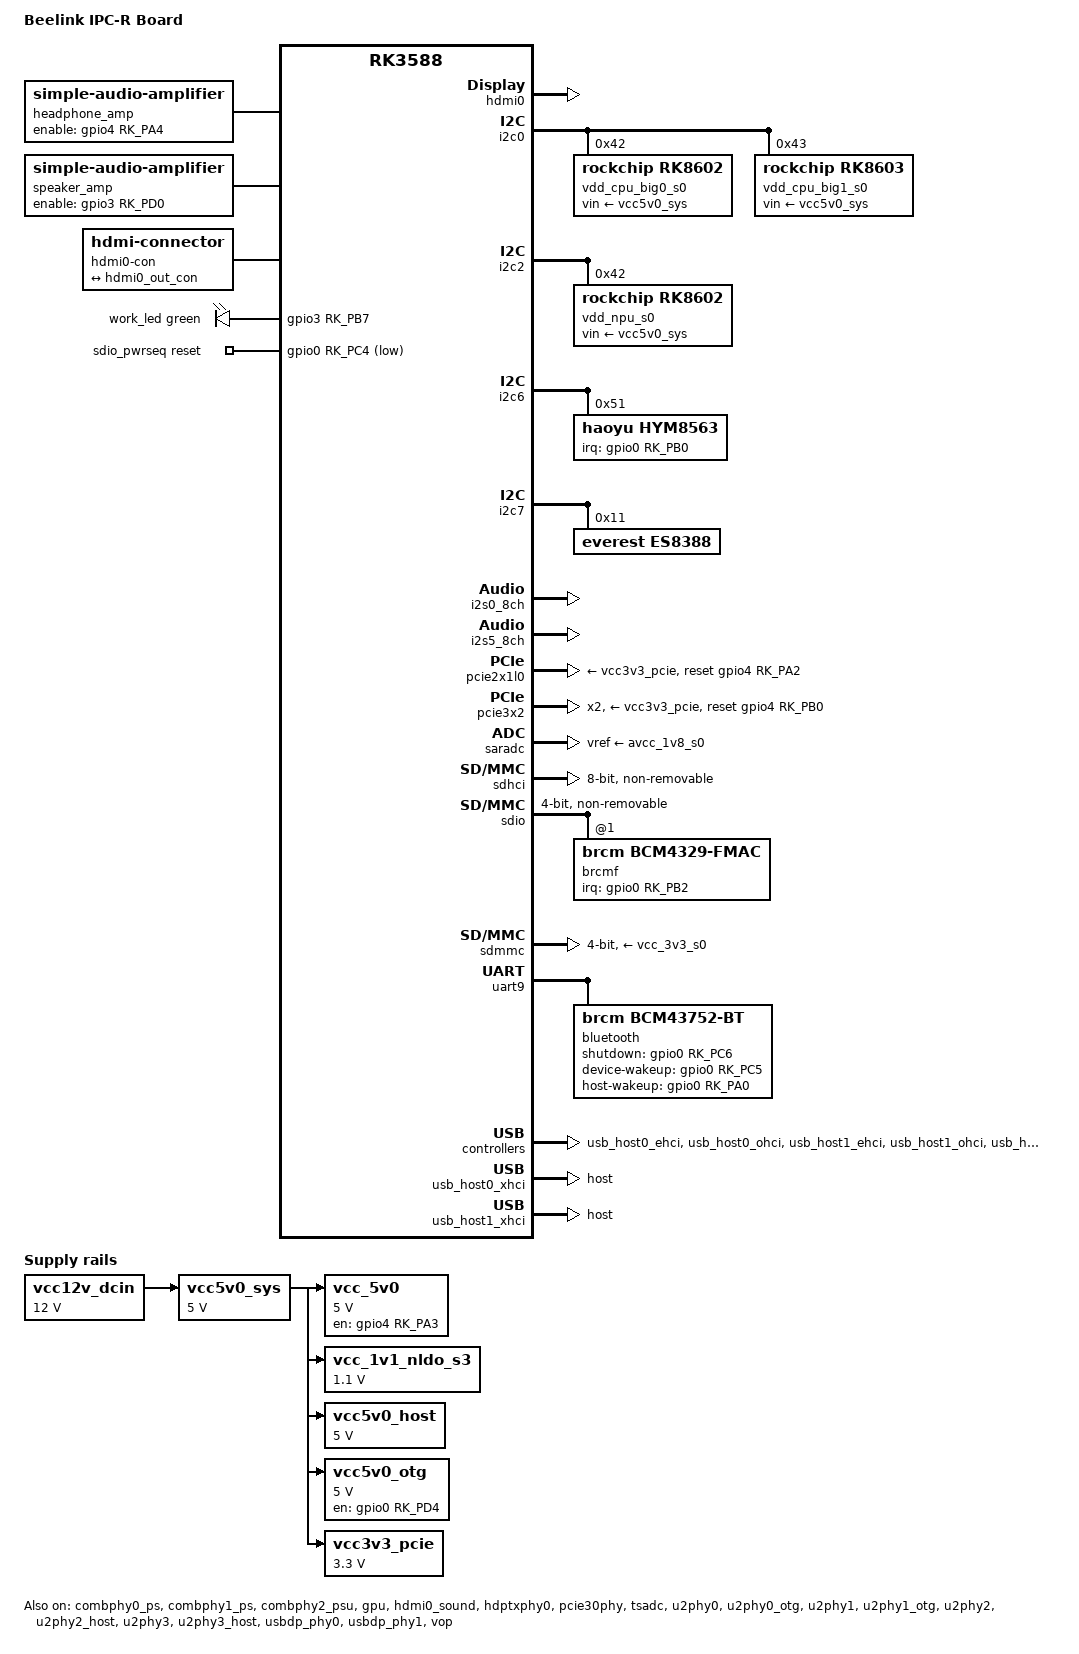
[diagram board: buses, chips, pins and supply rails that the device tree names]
// SPDX-License-Identifier: (GPL-2.0+ OR MIT)


/dts-v1/;

#include <dt-bindings/gpio/gpio.h>
#include <dt-bindings/input/input.h>
#include <dt-bindings/leds/common.h>
#include <dt-bindings/pinctrl/rockchip.h>
#include <dt-bindings/soc/rockchip,vop2.h>
#include "rk3588.dtsi"
#include "rk3588-rk806-single.dtsi"

/ {
	model = "Beelink IPC-R Board";
	compatible = "beelink,ipc-r", "rockchip,rk3588";

	aliases {
		mmc0 = &sdmmc;
		mmc1 = &sdhci;
		mmc2 = &sdio;
		rtc0 = &hym8563;
	};

	chosen: chosen {
		stdout-path = "serial2:1500000n8";
	};

	/* Headphone amplifier, enable pin = hp-con-gpios in the vendor BSP */
	headphone_amp: audio-amplifier-headphone {
		compatible = "simple-audio-amplifier";
		enable-gpios = <&gpio4 RK_PA4 GPIO_ACTIVE_HIGH>;
		sound-name-prefix = "Headphones Amp";
	};

	/* Speaker amplifier, enable pin = spk-con-gpios in the vendor BSP */
	speaker_amp: audio-amplifier-speaker {
		compatible = "simple-audio-amplifier";
		enable-gpios = <&gpio3 RK_PD0 GPIO_ACTIVE_HIGH>;
		sound-name-prefix = "Speaker Amp";
	};

	hdmi0-con {
		compatible = "hdmi-connector";
		type = "a";

		port {
			hdmi0_con_in: endpoint {
				remote-endpoint = <&hdmi0_out_con>;
			};
		};
	};

	gpio_leds: gpio-leds {
		compatible = "gpio-leds";

		work_led: led-work {
			function = LED_FUNCTION_INDICATOR;
			color = <LED_COLOR_ID_GREEN>;
			gpios = <&gpio3 RK_PB7 GPIO_ACTIVE_HIGH>;
			linux,default-trigger = "default-on";
		};
	};

	sdio_pwrseq: sdio-pwrseq {
		compatible = "mmc-pwrseq-simple";
		pinctrl-names = "default";
		pinctrl-0 = <&wifi_enable_h>;
		post-power-on-delay-ms = <200>;
		reset-gpios = <&gpio0 RK_PC4 GPIO_ACTIVE_LOW>;
	};

	/*
	 * ES8388 audio codec (register compatible with ES8328), analog
	 * headphone + speaker + microphone over i2s0. The vendor BSP uses
	 * the private "rockchip,multicodecs-card" machine driver; mainline
	 * uses simple-audio-card with the two amplifier GPIOs modelled as
	 * simple-audio-amplifier auxiliary devices.
	 */
	sound {
		compatible = "simple-audio-card";
		simple-audio-card,name = "rockchip-es8388";
		simple-audio-card,aux-devs = <&speaker_amp>, <&headphone_amp>;
		simple-audio-card,format = "i2s";
		simple-audio-card,mclk-fs = <256>;
		simple-audio-card,bitclock-master = <&daicpu>;
		simple-audio-card,frame-master = <&daicpu>;
		simple-audio-card,pin-switches = "Headphones";

		simple-audio-card,widgets =
			"Microphone", "Microphone Jack",
			"Speaker", "Speaker",
			"Headphone", "Headphones";

		simple-audio-card,routing =
			"Headphones", "LOUT2",
			"Headphones", "ROUT2",
			"Speaker", "LOUT2",
			"Speaker", "ROUT2",
			"Headphones", "Headphones Amp OUTL",
			"Headphones", "Headphones Amp OUTR",
			"Headphones Amp INL", "LOUT2",
			"Headphones Amp INR", "ROUT2",
			"Speaker", "Speaker Amp OUTL",
			"Speaker", "Speaker Amp OUTR",
			"Speaker Amp INL", "LOUT2",
			"Speaker Amp INR", "ROUT2",
			"LINPUT1", "Microphone Jack",
			"RINPUT1", "Microphone Jack";

		daicpu: simple-audio-card,cpu {
			sound-dai = <&i2s0_8ch>;
			system-clock-frequency = <12288000>;
		};

		simple-audio-card,codec {
			sound-dai = <&es8388>;
			system-clock-frequency = <12288000>;
		};
	};

	vcc12v_dcin: vcc12v-dcin {
		compatible = "regulator-fixed";
		regulator-name = "vcc12v_dcin";
		regulator-always-on;
		regulator-boot-on;
		regulator-min-microvolt = <12000000>;
		regulator-max-microvolt = <12000000>;
	};

	vcc5v0_sys: vcc5v0-sys {
		compatible = "regulator-fixed";
		regulator-name = "vcc5v0_sys";
		regulator-always-on;
		regulator-boot-on;
		regulator-min-microvolt = <5000000>;
		regulator-max-microvolt = <5000000>;
		vin-supply = <&vcc12v_dcin>;
	};

	vcc_5v0: vcc-5v0 {
		compatible = "regulator-fixed";
		regulator-name = "vcc_5v0";
		regulator-min-microvolt = <5000000>;
		regulator-max-microvolt = <5000000>;
		regulator-boot-on;
		regulator-always-on;
		enable-active-high;
		gpio = <&gpio4 RK_PA3 GPIO_ACTIVE_HIGH>;
		pinctrl-names = "default";
		pinctrl-0 = <&vcc_5v0_en>;
		vin-supply = <&vcc5v0_sys>;
	};

	vcc_1v1_nldo_s3: vcc-1v1-nldo-s3 {
		compatible = "regulator-fixed";
		regulator-name = "vcc_1v1_nldo_s3";
		regulator-always-on;
		regulator-boot-on;
		regulator-min-microvolt = <1100000>;
		regulator-max-microvolt = <1100000>;
		vin-supply = <&vcc5v0_sys>;
	};

	vcc5v0_host: vcc5v0-host-regulator {
		compatible = "regulator-fixed";
		regulator-name = "vcc5v0_host";
		regulator-boot-on;
		regulator-always-on;
		regulator-min-microvolt = <5000000>;
		regulator-max-microvolt = <5000000>;
		enable-active-high;
		vin-supply = <&vcc5v0_sys>;
	};

	vcc5v0_otg: vcc5v0-otg-regulator {
		compatible = "regulator-fixed";
		regulator-name = "vcc5v0_otg";
		regulator-min-microvolt = <5000000>;
		regulator-max-microvolt = <5000000>;
		regulator-boot-on;
		regulator-always-on;
		enable-active-high;
		gpio = <&gpio0 RK_PD4 GPIO_ACTIVE_HIGH>;
		pinctrl-names = "default";
		pinctrl-0 = <&vcc5v0_otg_en>;
		vin-supply = <&vcc5v0_sys>;
	};

	vcc3v3_pcie: vcc3v3-pcie {
		compatible = "regulator-fixed";
		regulator-name = "vcc3v3_pcie";
		regulator-min-microvolt = <3300000>;
		regulator-max-microvolt = <3300000>;
		startup-delay-us = <5000>;
		vin-supply = <&vcc5v0_sys>;
	};
};

&combphy0_ps {
	status = "okay";
};

&combphy1_ps {
	status = "okay";
};

&combphy2_psu {
	status = "okay";
};

&cpu_b0 {
	cpu-supply = <&vdd_cpu_big0_s0>;
	mem-supply = <&vdd_cpu_big0_mem_s0>;
};

&cpu_b1 {
	cpu-supply = <&vdd_cpu_big0_s0>;
	mem-supply = <&vdd_cpu_big0_mem_s0>;
};

&cpu_b2 {
	cpu-supply = <&vdd_cpu_big1_s0>;
	mem-supply = <&vdd_cpu_big1_mem_s0>;
};

&cpu_b3 {
	cpu-supply = <&vdd_cpu_big1_s0>;
	mem-supply = <&vdd_cpu_big1_mem_s0>;
};

&cpu_l0 {
	cpu-supply = <&vdd_cpu_lit_s0>;
	mem-supply = <&vdd_cpu_lit_mem_s0>;
};

&cpu_l1 {
	cpu-supply = <&vdd_cpu_lit_s0>;
	mem-supply = <&vdd_cpu_lit_mem_s0>;
};

&cpu_l2 {
	cpu-supply = <&vdd_cpu_lit_s0>;
	mem-supply = <&vdd_cpu_lit_mem_s0>;
};

&cpu_l3 {
	cpu-supply = <&vdd_cpu_lit_s0>;
	mem-supply = <&vdd_cpu_lit_mem_s0>;
};

&gpu {
	mali-supply = <&vdd_gpu_s0>;
	mem-supply = <&vdd_gpu_mem_s0>;
	status = "okay";
};

&hdmi0 {
	frl-enable-gpios = <&gpio4 RK_PB1 GPIO_ACTIVE_HIGH>;
	status = "okay";
};

&hdmi0_in {
	hdmi0_in_vp0: endpoint {
		remote-endpoint = <&vp0_out_hdmi0>;
	};
};

&hdmi0_out {
	hdmi0_out_con: endpoint {
		remote-endpoint = <&hdmi0_con_in>;
	};
};

&hdmi0_sound {
	status = "okay";
};

&hdptxphy0 {
	status = "okay";
};

&i2c0 {
	pinctrl-names = "default";
	pinctrl-0 = <&i2c0m2_xfer>;
	status = "okay";

	vdd_cpu_big0_s0: vdd_cpu_big0_mem_s0: regulator@42 {
		compatible = "rockchip,rk8602";
		reg = <0x42>;
		fcs,suspend-voltage-selector = <1>;
		regulator-name = "vdd_cpu_big0_s0";
		regulator-always-on;
		regulator-boot-on;
		regulator-min-microvolt = <550000>;
		regulator-max-microvolt = <1050000>;
		regulator-ramp-delay = <2300>;
		vin-supply = <&vcc5v0_sys>;

		regulator-state-mem {
			regulator-off-in-suspend;
		};
	};

	vdd_cpu_big1_s0: vdd_cpu_big1_mem_s0: regulator@43 {
		compatible = "rockchip,rk8603", "rockchip,rk8602";
		reg = <0x43>;
		fcs,suspend-voltage-selector = <1>;
		regulator-name = "vdd_cpu_big1_s0";
		regulator-always-on;
		regulator-boot-on;
		regulator-min-microvolt = <550000>;
		regulator-max-microvolt = <1050000>;
		regulator-ramp-delay = <2300>;
		vin-supply = <&vcc5v0_sys>;

		regulator-state-mem {
			regulator-off-in-suspend;
		};
	};
};

&i2c2 {
	status = "okay";

	vdd_npu_s0: vdd_npu_mem_s0: regulator@42 {
		compatible = "rockchip,rk8602";
		reg = <0x42>;
		fcs,suspend-voltage-selector = <1>;
		regulator-name = "vdd_npu_s0";
		regulator-always-on;
		regulator-boot-on;
		regulator-min-microvolt = <550000>;
		regulator-max-microvolt = <950000>;
		regulator-ramp-delay = <2300>;
		vin-supply = <&vcc5v0_sys>;

		regulator-state-mem {
			regulator-off-in-suspend;
		};
	};
};

&i2c6 {
	status = "okay";

	hym8563: rtc@51 {
		compatible = "haoyu,hym8563";
		reg = <0x51>;
		#clock-cells = <0>;
		clock-output-names = "hym8563";
		pinctrl-names = "default";
		pinctrl-0 = <&hym8563_int>;
		interrupt-parent = <&gpio0>;
		interrupts = <RK_PB0 IRQ_TYPE_LEVEL_LOW>;
		wakeup-source;
	};
};

&i2c7 {
	status = "okay";

	es8388: audio-codec@11 {
		compatible = "everest,es8388", "everest,es8328";
		reg = <0x11>;
		clocks = <&cru I2S0_8CH_MCLKOUT>;
		clock-names = "mclk";
		assigned-clocks = <&cru I2S0_8CH_MCLKOUT>;
		assigned-clock-rates = <12288000>;
		#sound-dai-cells = <0>;
	};
};

&i2s0_8ch {
	pinctrl-names = "default";
	pinctrl-0 = <&i2s0_lrck
		     &i2s0_mclk
		     &i2s0_sclk
		     &i2s0_sdi0
		     &i2s0_sdo0>;
	rockchip,playback-channels = <2>;
	rockchip,capture-channels = <2>;
	status = "okay";
};

&i2s5_8ch {
	status = "okay";
};

&pcie2x1l0 {
	/* rtl8125 2.5G ethernet (eth0) */
	reset-gpios = <&gpio4 RK_PA2 GPIO_ACTIVE_HIGH>;
	vpcie3v3-supply = <&vcc3v3_pcie>;
	status = "okay";
};

&pcie2x1l2 {
	/* unpopulated on this board */
	reset-gpios = <&gpio3 RK_PD1 GPIO_ACTIVE_HIGH>;
	vpcie3v3-supply = <&vcc3v3_pcie>;
	status = "disabled";
};

&pcie3x2 {
	/* rtl8125 2.5G ethernet (eth1) */
	num-lanes = <2>;
	reset-gpios = <&gpio4 RK_PB0 GPIO_ACTIVE_HIGH>;
	vpcie3v3-supply = <&vcc3v3_pcie>;
	status = "okay";
};

&pcie3x4 {
	/* unpopulated on this board */
	num-lanes = <2>;
	reset-gpios = <&gpio4 RK_PB6 GPIO_ACTIVE_HIGH>;
	status = "disabled";
};

&pcie30phy {
	status = "okay";
};

&pinctrl {
	bluetooth {
		bt_reset_gpio: bt-reset-gpio {
			rockchip,pins = <0 RK_PC6 RK_FUNC_GPIO &pcfg_pull_none>;
		};

		bt_wake_gpio: bt-wake-gpio {
			rockchip,pins = <0 RK_PC5 RK_FUNC_GPIO &pcfg_pull_none>;
		};

		bt_irq_gpio: bt-irq-gpio {
			rockchip,pins = <0 RK_PA0 RK_FUNC_GPIO &pcfg_pull_none>;
		};
	};

	hym8563 {
		hym8563_int: hym8563-int {
			rockchip,pins = <0 RK_PB0 RK_FUNC_GPIO &pcfg_pull_up>;
		};
	};

	power {
		vcc_5v0_en: vcc-5v0-en {
			rockchip,pins = <4 RK_PA3 RK_FUNC_GPIO &pcfg_pull_none>;
		};
	};

	sdio-pwrseq {
		wifi_enable_h: wifi-enable-h {
			rockchip,pins = <0 RK_PC4 RK_FUNC_GPIO &pcfg_pull_up>;
		};
	};

	usb {
		vcc5v0_otg_en: vcc5v0-otg-en {
			rockchip,pins = <0 RK_PD4 RK_FUNC_GPIO &pcfg_pull_none>;
		};
	};

	wireless-wlan {
		wifi_host_wake_irq: wifi-host-wake-irq {
			rockchip,pins = <0 RK_PB2 RK_FUNC_GPIO &pcfg_pull_down>;
		};
	};
};

&saradc {
	vref-supply = <&avcc_1v8_s0>;
	status = "okay";
};

&sdhci {
	bus-width = <8>;
	no-sdio;
	no-sd;
	non-removable;
	mmc-hs200-1_8v;
	status = "okay";
};

&sdio {
	bus-width = <4>;
	cap-sdio-irq;
	cap-sd-highspeed;
	keep-power-in-suspend;
	mmc-pwrseq = <&sdio_pwrseq>;
	max-frequency = <150000000>;
	no-sd;
	no-mmc;
	non-removable;
	pinctrl-names = "default";
	pinctrl-0 = <&sdiom0_pins>;
	sd-uhs-sdr104;
	status = "okay";

	#address-cells = <1>;
	#size-cells = <0>;

	brcmf: wifi@1 {
		reg = <1>;
		compatible = "brcm,bcm4329-fmac";
		interrupt-parent = <&gpio0>;
		interrupts = <RK_PB2 IRQ_TYPE_LEVEL_HIGH>;
		interrupt-names = "host-wake";
		pinctrl-names = "default";
		pinctrl-0 = <&wifi_host_wake_irq>;
	};
};

&sdmmc {
	bus-width = <4>;
	cap-mmc-highspeed;
	cap-sd-highspeed;
	disable-wp;
	max-frequency = <200000000>;
	no-sdio;
	no-mmc;
	sd-uhs-sdr104;
	vmmc-supply = <&vcc_3v3_s0>;
	vqmmc-supply = <&vccio_sd_s0>;
	status = "okay";
};

&tsadc {
	status = "okay";
};

&u2phy0 {
	status = "okay";
};

&u2phy0_otg {
	vbus-supply = <&vcc5v0_otg>;
	status = "okay";
};

&u2phy1 {
	status = "okay";
};

&u2phy1_otg {
	status = "okay";
};

&u2phy2 {
	status = "okay";
};

&u2phy2_host {
	status = "okay";
};

&u2phy3 {
	status = "okay";
};

&u2phy3_host {
	status = "okay";
};

&uart9 {
	pinctrl-names = "default";
	pinctrl-0 = <&uart9m0_xfer &uart9m0_ctsn>;
	status = "okay";

	bluetooth {
		compatible = "brcm,bcm43752-bt";
		shutdown-gpios = <&gpio0 RK_PC6 GPIO_ACTIVE_HIGH>;
		device-wakeup-gpios = <&gpio0 RK_PC5 GPIO_ACTIVE_HIGH>;
		host-wakeup-gpios = <&gpio0 RK_PA0 GPIO_ACTIVE_HIGH>;
		pinctrl-names = "default";
		pinctrl-0 = <&bt_reset_gpio &bt_wake_gpio &bt_irq_gpio>;
	};
};

&usb_host0_ehci {
	status = "okay";
};

&usb_host0_ohci {
	status = "okay";
};

&usb_host1_ehci {
	status = "okay";
};

&usb_host1_ohci {
	status = "okay";
};

/* typec0 dwc3 (otg) */
&usb_host0_xhci {
	dr_mode = "host";
	status = "okay";
};

/* typec1 dwc3 (host) */
&usb_host1_xhci {
	dr_mode = "host";
	status = "okay";
};

/* usb3 host on combphy2 (rear USB3 ports) */
&usb_host2_xhci {
	status = "okay";
};

/* typec0 usb3 phy */
&usbdp_phy0 {
	status = "okay";
};

/* typec1 usb3 phy */
&usbdp_phy1 {
	status = "okay";
};

&vop {
	vop-supply = <&vdd_log_s0>;
	assigned-clocks = <&cru ACLK_VOP>;
	assigned-clock-rates = <800000000>;
	status = "okay";
};

&vop_mmu {
	status = "okay";
};

&vp0 {
	vp0_out_hdmi0: endpoint@ROCKCHIP_VOP2_EP_HDMI0 {
		reg = <ROCKCHIP_VOP2_EP_HDMI0>;
		remote-endpoint = <&hdmi0_in_vp0>;
	};
};
